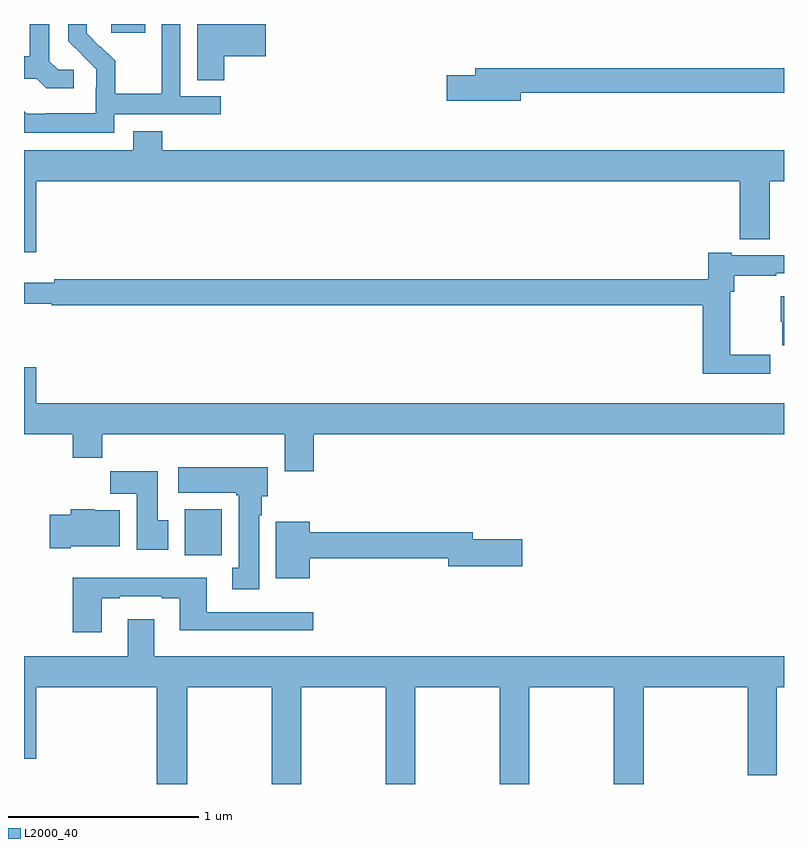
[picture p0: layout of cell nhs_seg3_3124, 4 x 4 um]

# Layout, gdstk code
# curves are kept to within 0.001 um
import gdstk
lib = gdstk.Library(unit=1e-6, precision=1e-09)
def R(c, l, rs):  # rectangles x0, y0, x1, y1
    for r in rs: c.add(gdstk.rectangle(r[:2], r[2:], *l))
def P(c, l, *ps):  # polygons
    for p in ps: c.add(gdstk.Polygon(p, *l))
L2000_40 = (2000, 40)

nhs_seg3_3124 = lib.new_cell('nhs_seg3_3124')
R(nhs_seg3_3124, L2000_40, [(273.845,709.604,274.042,709.846), (273.458,712.353,273.637,712.4)])
P(nhs_seg3_3124, L2000_40, [(274.055,712.229),(274.273,712.229),(274.273,712.4),(273.911,712.4),(273.911,712.105),(274.055,712.105)],
  [(273.262,712.158),(273.18,712.158),(273.133,712.205),(273.133,712.4),(273.029,712.4),(273.029,712.229),(273,712.229),(273,712.113),(273.066,712.113),(273.118,712.061),(273.262,712.061)],
  [(273.474,711.924),(274.036,711.924),(274.036,712.02),(273.822,712.02),(273.822,712.4),(273.726,712.4),(273.726,712.256),(273.724,712.256),(273.724,712.033),(273.479,712.033),(273.479,712.207),(273.402,712.284),(273.399,712.281),(273.329,712.352),(273.329,712.4),(273.234,712.4),(273.234,712.31),(273.38,712.162),(273.38,712.065),(273.378,712.065),(273.378,711.931),(273.115,711.931),(273.115,711.927),(273.015,711.927),(273,711.942),(273,711.827),(273.474,711.827)],
  [(275.614,712.038),(277,712.038),(277,712.166),(275.375,712.166),(275.375,712.13),(275.226,712.13),(275.226,711.995),(275.614,711.995)],
  [(273.064,711.572),(276.767,711.572),(276.767,711.268),(276.926,711.268),(276.926,711.572),(277,711.572),(277,711.736),(273.728,711.736),(273.728,711.835),(273.575,711.835),(273.575,711.736),(273,711.736),(273,711.198),(273.064,711.198)],
  [(276.928,710.66),(276.718,710.66),(276.718,710.99),(276.737,710.99),(276.737,711.075),(276.959,711.075),(276.959,711.087),(277,711.087),(277,711.183),(276.724,711.183),(276.724,711.196),(276.601,711.196),(276.601,711.056),(273.16,711.056),(273.16,711.037),(273,711.037),(273,710.928),(273.146,710.928),(273.146,710.92),(276.572,710.92),(276.572,710.558),(276.928,710.558)],
  [(277,710.968),(276.983,710.968),(276.983,710.832),(276.992,710.832),(276.992,710.709),(277,710.709)],
  [(274.526,710.24),(277,710.24),(277,710.404),(273.064,710.404),(273.064,710.593),(273,710.593),(273,710.24),(273.257,710.24),(273.257,710.116),(273.413,710.116),(273.413,710.24),(274.373,710.24),(274.373,710.046),(274.526,710.046)],
  [(274.237,709.814),(274.252,709.814),(274.252,709.914),(274.282,709.914),(274.282,710.068),(273.813,710.068),(273.813,709.934),(274.117,709.934),(274.117,709.921),(274.13,709.921),(274.13,709.538),(274.097,709.538),(274.097,709.425),(274.237,709.425)],
  [(273.76,709.788),(273.703,709.788),(273.703,710.047),(273.454,710.047),(273.454,709.928),(273.593,709.928),(273.593,709.632),(273.76,709.632)],
  [(273.247,709.652),(273.505,709.652),(273.505,709.84),(273.372,709.84),(273.372,709.846),(273.247,709.846),(273.247,709.818),(273.135,709.818),(273.135,709.64),(273.247,709.64)],
  [(274.504,709.588),(275.234,709.588),(275.234,709.546),(275.623,709.546),(275.623,709.688),(275.362,709.688),(275.362,709.724),(274.504,709.724),(274.504,709.78),(274.325,709.78),(274.325,709.484),(274.504,709.484)],
  [(273.409,709.377),(273.505,709.377),(273.505,709.389),(273.725,709.389),(273.725,709.377),(273.821,709.377),(273.821,709.208),(274.522,709.208),(274.522,709.305),(273.961,709.305),(273.961,709.486),(273.257,709.486),(273.257,709.2),(273.409,709.2)],
  [(273.858,708.908),(274.303,708.908),(274.303,708.4),(274.458,708.4),(274.458,708.908),(274.903,708.908),(274.903,708.4),(275.058,708.4),(275.058,708.908),(275.503,708.908),(275.503,708.4),(275.658,708.4),(275.658,708.908),(276.103,708.908),(276.103,708.4),(276.263,708.4),(276.263,708.908),(276.809,708.908),(276.809,708.447),(276.961,708.447),(276.961,708.908),(277,708.908),(277,709.072),(273.685,709.072),(273.685,709.267),(273.545,709.267),(273.545,709.072),(273,709.072),(273,708.534),(273.064,708.534),(273.064,708.908),(273.698,708.908),(273.698,708.4),(273.858,708.4)])

lib.write_gds('nhs_seg3_3124.gds')
